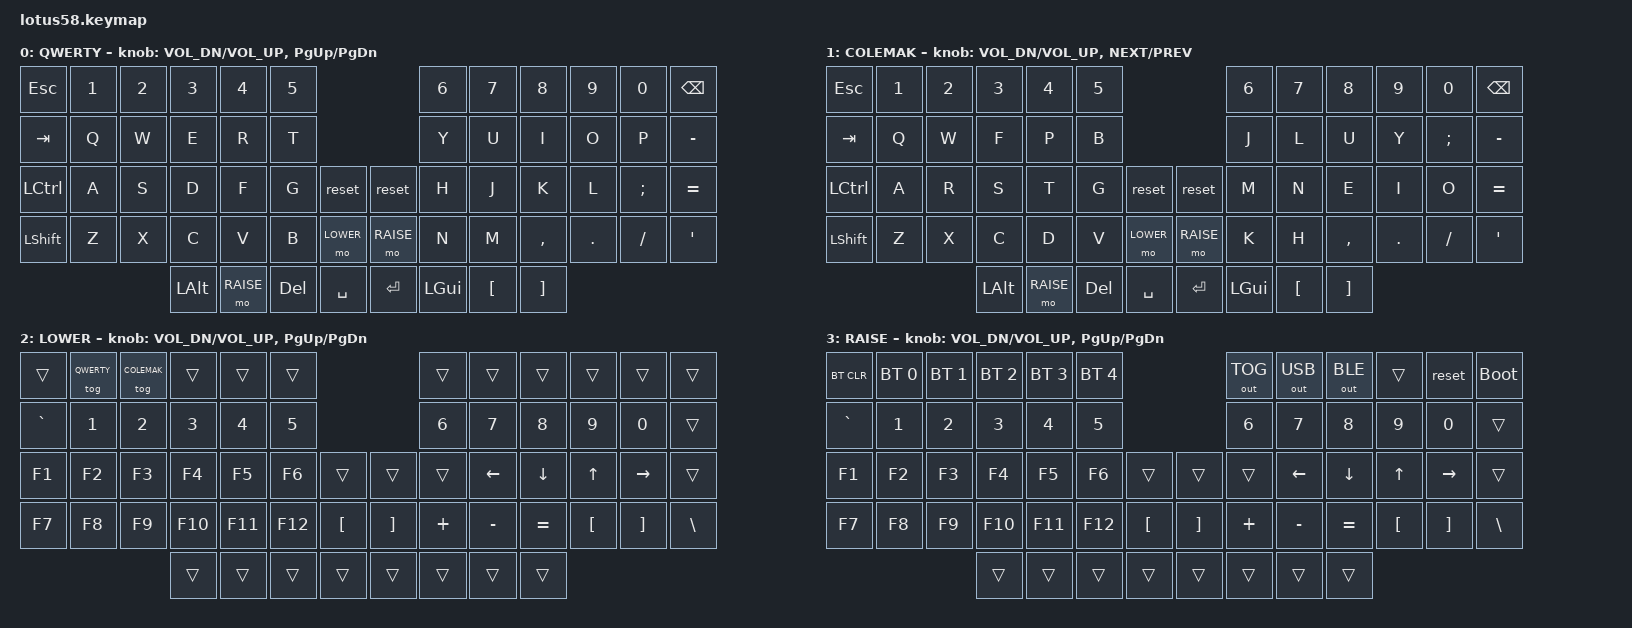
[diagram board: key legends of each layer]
/*
 * Copyright (c) 2022 The ZMK Contributors
 *
 * SPDX-License-Identifier: MIT
 */

#include <behaviors.dtsi>
#include <dt-bindings/zmk/keys.h>
#include <dt-bindings/zmk/bt.h>
#include <dt-bindings/zmk/outputs.h>

#define QWERTY 0
#define COLEMAK 1
#define LOWER 2
#define RAISE 3

/ {
    combos {
        compatible = "zmk,combos";
        combo_dsklg {
            timeout-ms = <100>;
            key-positions = <24 52>;
            layers = <0>;
            bindings = <&kp LGUI>;
        };        
    };

    keymap {
        compatible = "zmk,keymap";

        default_layer {
//   ------------------------------------------------------------------------------------------------------------
//  0|  ESC  |  1  |  2  |  3   |  4   |  5   |                     |  6   |  7    |  8    |  9   |   0   | BSPC  | 11
// 12|  TAB  |  Q  |  W  |  E   |  R   |  T   |                     |  Y   |  U    |  I    |  O   |   P   |  - _  | 23
// 24|  CTRL |  A  |  S  |  D   |  F   |  G   |  RESET  |  | RESET  |  H   |  J    |  K    |  L   |   ;   |  = +  | 37
// 38|  SFT  |  Z  |  X  |  C   |  V   |  B   |  MUTE   |  | PLAY   |  N   |  M    |  ,    |  .   |   /   |  ' "  | 51
// 52                    | ALT  | FN   | DEL  |  SPACE  |  |ENTER RS| BSPC |  ] LW | RGUI  |                        59
            bindings = <
&kp ESC   &kp N1 &kp N2   &kp N3     &kp N4    &kp N5                               &kp N6    &kp N7      &kp N8    &kp N9   &kp N0   &kp BSPC
&kp TAB   &kp Q  &kp W    &kp E      &kp R     &kp T                                &kp Y     &kp U       &kp I     &kp O    &kp P    &kp MINUS
&kp LCTRL &kp A  &kp S    &kp D      &kp F     &kp G      &reset         &reset     &kp H     &kp J       &kp K     &kp L    &kp SEMI &kp EQUAL
&kp LSHFT &kp Z  &kp X    &kp C      &kp V     &kp B      &mo LOWER      &mo RAISE  &kp N     &kp M       &kp COMMA &kp DOT  &kp FSLH &kp SQT
                          &kp LALT   &mo RAISE &kp DEL    &kp SPACE      &kp RET    &kp LGUI  &kp LBKT    &kp RBKT
            >;

            label = "QWERTY";

            sensor-bindings = <&inc_dec_kp C_VOL_DN C_VOL_UP &inc_dec_kp PG_UP PG_DN>;
        };

        colemak_layer {
//   ------------------------------------------------------------------------------------------------------------
//  0|  ESC  |  1  |  2  |  3   |  4   |  5   |                     |  6   |  7    |  8    |  9   |   0   | BSPC  | 11
// 12|  TAB  |  Q  |  W  |  E   |  R   |  T   |                     |  Y   |  U    |  I    |  O   |   P   |  - _  | 23
// 24|  CTRL |  A  |  S  |  D   |  F   |  G   |  RESET  |  | RESET  |  H   |  J    |  K    |  L   |   ;   |  = +  | 37
// 38|  SFT  |  Z  |  X  |  C   |  V   |  B   |  MUTE   |  | PLAY   |  N   |  M    |  ,    |  .   |   /   |  ' "  | 51
// 52                    | ALT  | FN   | DEL  |  SPACE  |  |ENTER RS| BSPC |  ] LW | RGUI  |                        59
            bindings = <
&kp ESC   &kp N1 &kp N2   &kp N3     &kp N4    &kp N5                               &kp N6    &kp N7      &kp N8    &kp N9   &kp N0   &kp BSPC
&kp TAB   &kp Q  &kp W    &kp F      &kp P     &kp B                                &kp J     &kp L       &kp U     &kp Y    &kp SEMI &kp MINUS
&kp LCTRL &kp A  &kp R    &kp S      &kp T     &kp G      &reset         &reset     &kp M     &kp N       &kp E     &kp I    &kp O    &kp EQUAL
&kp LSHFT &kp Z  &kp X    &kp C      &kp D     &kp V      &mo LOWER      &mo RAISE  &kp K     &kp H       &kp COMMA &kp DOT  &kp FSLH &kp SQT
                          &kp LALT   &mo RAISE &kp DEL    &kp SPACE      &kp RET    &kp LGUI  &kp LBKT    &kp RBKT
            >;

            label = "COLEMAK";

            sensor-bindings = <&inc_dec_kp C_VOL_DN C_VOL_UP &inc_dec_kp C_NEXT C_PREV>;
        };

        lower_layer {
// ------------------------------------------------------------------------------------------------------------
// |BTCLR| BT1  | BT2  |  BT3  |  BT4  |  BT5 |                |OUTTOG|OUTUSB| OUTBT |      | RESET | FLASH |
// |     | INS  | PSCR | GUI   | RESET |      |                | PGUP |      |   ^   |      |       |       |
// |     | ALT  | CTRL | SHIFT | FLASH | CAPS |      |  |      | PGDN |   <- |   v   |  ->  |  DEL  | BSPC  |
// |     | UNDO | CUT  | COPY  | PASTE |      |      |  |      |      |  |>  |  <|<| | |>|> |       |       |
//                     |       |       |      |      |  |      |      |      |       |
            bindings = <
&trans     &tog QWERTY  &tog COLEMAK &trans       &trans       &trans                          &trans        &trans        &trans        &trans     &trans    &trans
&kp GRAVE  &kp N1       &kp N2       &kp N3       &kp N4       &kp N5                          &kp N6        &kp N7        &kp N8        &kp N9     &kp N0    &trans
&kp F1     &kp F2       &kp F3       &kp F4       &kp F5       &kp F6       &trans   &trans    &trans        &kp LEFT      &kp DOWN      &kp UP     &kp RIGHT &trans
&kp F7     &kp F8       &kp F9       &kp F10      &kp F11      &kp F12      &kp LBKT &kp RBKT  &kp PLUS      &kp MINUS     &kp EQUAL     &kp LBKT   &kp RBKT  &kp BSLH
                                     &trans       &trans       &trans       &trans   &trans    &trans        &trans        &trans
            >;

            label = "LOWER";

            sensor-bindings = <&inc_dec_kp C_VOL_DN C_VOL_UP &inc_dec_kp PG_UP PG_DN>;
        };

        raise_layer {
// ------------------------------------------------------------------------------------------------------------
// |BTCLR| BT1  | BT2  |  BT3  |  BT4  |  BT5 |                |OUTTOG|OUTUSB| OUTBT |      | RESET | FLASH |
// |     | INS  | PSCR | GUI   | RESET |      |                | PGUP |      |   ^   |      |       |       |
// |     | ALT  | CTRL | SHIFT | FLASH | CAPS |      |  |      | PGDN |   <- |   v   |  ->  |  DEL  | BSPC  |
// |     | UNDO | CUT  | COPY  | PASTE |      |      |  |      |      |  |>  |  <|<| | |>|> |       |       |
//                     |       |       |      |      |  |      |      |      |       |       
            bindings = <
&bt BT_CLR &bt BT_SEL 0 &bt BT_SEL 1 &bt BT_SEL 2 &bt BT_SEL 3 &bt BT_SEL 4                    &out OUT_TOG  &out OUT_USB  &out OUT_BLE  &trans     &reset    &bootloader
&kp GRAVE  &kp N1       &kp N2       &kp N3       &kp N4       &kp N5                          &kp N6        &kp N7        &kp N8        &kp N9     &kp N0    &trans
&kp F1     &kp F2       &kp F3       &kp F4       &kp F5       &kp F6       &trans   &trans    &trans        &kp LEFT      &kp DOWN      &kp UP     &kp RIGHT &trans
&kp F7     &kp F8       &kp F9       &kp F10      &kp F11      &kp F12      &kp LBKT &kp RBKT  &kp PLUS      &kp MINUS     &kp EQUAL     &kp LBKT   &kp RBKT  &kp BSLH
                                     &trans       &trans       &trans       &trans   &trans    &trans        &trans        &trans   
            >;

            label = "RAISE";

            sensor-bindings = <&inc_dec_kp C_VOL_DN C_VOL_UP &inc_dec_kp PG_UP PG_DN>;
        };
    };
};
